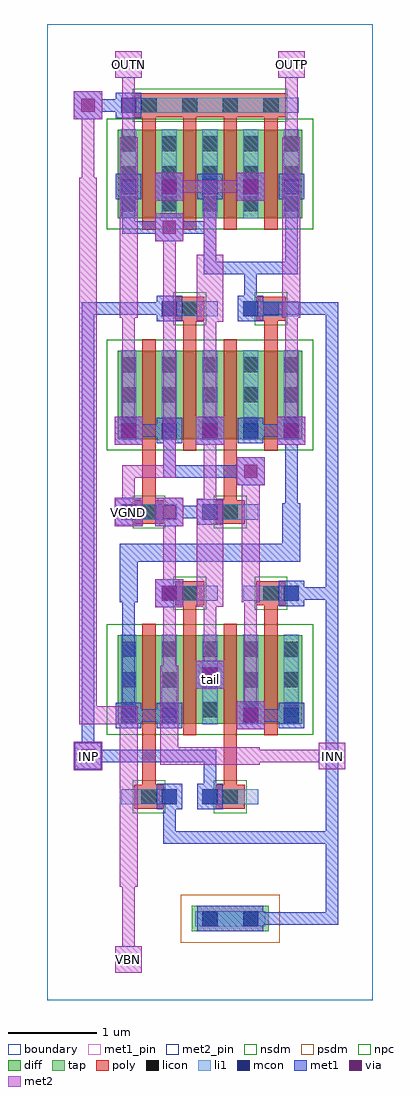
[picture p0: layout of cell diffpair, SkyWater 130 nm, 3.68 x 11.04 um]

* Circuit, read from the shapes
.subckt diffpair INN INP OUTN OUTP VBN VGND tail
XM1 OUTP VGND OUTP VGND sky130_fd_pr__nfet_01v8 w=1 l=0.15 m=2
XM2 OUTN VGND OUTN VGND sky130_fd_pr__nfet_01v8 w=1 l=0.15 m=2
XM3 tail VBN VGND VGND sky130_fd_pr__nfet_01v8 w=1 l=0.15 m=4
XM4 tail INN OUTP VGND sky130_fd_pr__nfet_01v8 w=1 l=0.15 m=2
XM5 tail INP OUTN VGND sky130_fd_pr__nfet_01v8 w=1 l=0.15 m=2
.ends

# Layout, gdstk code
import gdstk
lib = gdstk.Library(unit=1e-6, precision=1e-09)
def R(c, l, rs):  # rectangles x0, y0, x1, y1
    for r in rs: c.add(gdstk.rectangle(r[:2], r[2:], *l))
def A(c, l, x, y, w, h, nx, ny, dx, dy):  # array of equal rectangles
    R(c, l, [(x+i*dx, y+j*dy, x+i*dx+w, y+j*dy+h) for i in range(nx) for j in range(ny)])
diff = (65, 20)
tap = (65, 44)
poly = (66, 20)
licon = (66, 44)
li1 = (67, 20)
mcon = (67, 44)
met1_pin = (68, 16)
met1 = (68, 20)
via = (68, 44)
met2_pin = (69, 16)
met2 = (69, 20)
nsdm = (93, 44)
psdm = (94, 20)
npc = (95, 20)
boundary = (235, 4)

diffpair = lib.new_cell('diffpair')
R(diffpair, diff, [(0.795,3.125,2.885,4.125), (0.795,6.345,2.885,7.345), (0.795,8.845,2.885,9.845)])
R(diffpair, tap, [(1.635,0.775,2.505,1.065)])
A(diffpair, poly, 1.075, 8.715, 0.15, 1.405, 4, 1, 0.46, 0)
R(diffpair, poly, [(0.985,2.165,1.315,2.435), (1.905,2.165,2.235,2.435), (1.075,2.3,1.225,4.255), (1.995,2.3,2.145,4.255), (1.535,2.995,1.685,4.6), (2.455,2.995,2.605,4.6), (1.445,4.465,1.775,4.735), (2.365,4.465,2.695,4.735), (0.985,5.385,1.315,5.655), (1.905,5.385,2.235,5.655), (1.075,5.52,1.225,7.475), (1.995,5.52,2.145,7.475), (1.535,6.215,1.685,7.82), (2.455,6.215,2.605,7.82), (1.445,7.685,1.775,7.955), (2.365,7.685,2.695,7.955), (0.985,9.985,2.695,10.255)])
A(diffpair, licon, 0.835, 3.2, 0.17, 0.17, 5, 3, 0.46, 0.34)
A(diffpair, licon, 0.835, 6.42, 0.17, 0.17, 5, 3, 0.46, 0.34)
A(diffpair, licon, 0.835, 8.92, 0.17, 0.17, 5, 3, 0.46, 0.34)
A(diffpair, licon, 1.065, 10.035, 0.17, 0.17, 4, 1, 0.46, 0)
R(diffpair, licon, [(1.755,0.835,1.925,1.005), (2.215,0.835,2.385,1.005), (1.065,2.215,1.235,2.385), (1.985,2.215,2.155,2.385), (1.525,4.515,1.695,4.685), (2.445,4.515,2.615,4.685), (1.065,5.435,1.235,5.605), (1.985,5.435,2.155,5.605), (1.525,7.735,1.695,7.905), (2.445,7.735,2.615,7.905)])
A(diffpair, li1, 0.835, 3.12, 0.17, 1.01, 5, 2, 0.46, 3.22)
A(diffpair, li1, 0.835, 8.84, 0.17, 1.01, 5, 1, 0.46, 0)
R(diffpair, li1, [(1.675,0.835,2.465,1.005), (0.835,2.215,1.465,2.385), (1.755,2.215,2.385,2.385), (1.295,4.515,1.925,4.685), (2.215,4.515,2.845,4.685), (0.835,5.435,1.465,5.605), (1.755,5.435,2.385,5.605), (1.295,7.735,1.925,7.905), (2.215,7.735,2.845,7.905), (0.835,10.035,2.845,10.205)])
A(diffpair, mcon, 1.755, 0.835, 0.17, 0.17, 1, 3, 0, 1.38)
A(diffpair, mcon, 0.835, 6.355, 0.17, 0.17, 5, 2, 0.46, 2.76)
R(diffpair, mcon, [(2.215,0.835,2.385,1.005), (1.295,2.215,1.465,2.385), (0.835,3.135,1.005,3.305), (1.295,3.135,1.465,3.305), (2.215,3.135,2.385,3.305), (2.675,3.135,2.845,3.305), (1.295,4.515,1.465,4.685), (2.675,4.515,2.845,4.685), (0.835,5.435,1.005,5.605), (1.755,5.435,1.925,5.605), (1.295,7.735,1.465,7.905), (2.215,7.735,2.385,7.905), (0.835,10.035,1.005,10.205)])
R(diffpair, met1_pin, [(0.775,5.375,1.065,5.665)])
A(diffpair, met1, 0.76, 6.28, 0.32, 0.32, 3, 1, 0.92, 0)
A(diffpair, met1, 0.775, 6.295, 0.29, 0.29, 5, 2, 0.46, 2.76)
R(diffpair, met1, [(1.695,0.775,2.445,1.065), (2.23,0.85,3.29,0.99), (2.23,0.85,2.37,0.99), (3.15,0.85,3.29,4.67), (1.31,1.77,1.45,2.37), (1.31,1.77,3.29,1.91), (1.235,2.155,1.525,2.445), (1.695,2.155,1.985,2.445), (1.77,2.23,1.91,2.83), (0.3,2.6,0.62,2.92), (0.39,2.69,1.91,2.83), (0.39,2.69,0.53,7.89), (2.14,3.06,2.46,3.38), (0.775,3.075,1.065,3.365), (1.235,3.075,1.525,3.365), (2.155,3.075,2.445,3.365), (2.615,3.075,2.905,3.365), (0.85,3.15,1.45,3.29), (0.85,3.15,0.99,4.67), (2.23,3.15,2.83,3.29), (1.68,3.52,2,3.84), (1.695,3.535,1.985,3.825), (1.22,4.44,1.54,4.76), (1.235,4.455,1.525,4.745), (2.615,4.455,2.905,4.745), (0.82,4.5,1.02,5.16), (2.69,4.53,3.29,4.67), (3.15,4.53,3.29,7.89), (0.82,4.96,2.86,5.16), (2.66,4.96,2.86,5.62), (0.76,5.36,1.08,5.68), (1.22,5.36,1.54,5.68), (0.775,5.375,1.065,5.665), (1.695,5.375,1.985,5.665), (1.31,5.45,1.91,5.59), (2.69,5.45,2.83,6.51), (2.14,5.82,2.46,6.14), (1.31,5.91,2.37,6.05), (1.31,5.91,1.45,6.51), (0.85,6.37,1.45,6.51), (2.23,6.37,2.83,6.51), (1.235,7.675,1.525,7.965), (2.155,7.675,2.445,7.965), (0.39,7.75,1.45,7.89), (2.23,7.75,3.29,7.89), (2.23,7.75,2.37,8.35), (1.77,8.21,2.37,8.35), (1.77,8.21,1.91,8.81), (2.23,8.21,2.83,8.35), (2.69,8.21,2.83,9.27), (1.22,8.58,1.54,8.9), (0.85,8.67,1.45,8.81), (0.85,8.67,0.99,9.27), (1.31,8.67,1.91,8.81), (1.77,8.67,1.91,9.27), (1.22,9.04,1.54,9.36), (2.14,9.04,2.46,9.36), (0.3,9.96,0.62,10.28), (0.775,9.975,1.065,10.265), (0.39,10.05,0.99,10.19)])
A(diffpair, via, 0.845, 6.365, 0.15, 0.15, 3, 1, 0.92, 0)
R(diffpair, via, [(0.385,2.685,0.535,2.835), (2.225,3.145,2.375,3.295), (1.765,3.605,1.915,3.755), (1.305,4.525,1.455,4.675), (0.845,5.445,0.995,5.595), (1.305,5.445,1.455,5.595), (2.225,5.905,2.375,6.055), (1.305,8.665,1.455,8.815), (1.305,9.125,1.455,9.275), (2.225,9.125,2.375,9.275), (0.385,10.045,0.535,10.195)])
R(diffpair, met2_pin, [(0.77,0.31,1.07,0.61), (0.31,2.61,0.61,2.91), (3.07,2.61,3.37,2.91), (0.77,10.43,1.07,10.73), (2.61,10.43,2.91,10.73)])
A(diffpair, met2, 0.76, 6.28, 0.32, 0.32, 3, 1, 0.92, 0)
A(diffpair, met2, 0.85, 6.37, 0.14, 1.52, 3, 1, 0.92, 0)
R(diffpair, met2, [(0.77,0.31,1.07,0.61), (0.85,0.39,0.99,1.45), (0.85,0.39,0.99,0.53), (0.82,1.28,1.02,3.32), (0.3,2.6,0.62,2.92), (0.31,2.61,0.61,2.91), (3.07,2.61,3.37,2.91), (1.28,2.66,1.48,3.78), (1.28,2.66,2.4,2.86), (0.39,2.69,0.53,2.83), (2.23,2.69,3.29,2.83), (3.15,2.69,3.29,2.83), (2.14,3.06,2.46,3.38), (0.36,3.12,0.56,9.3), (0.36,3.12,1.02,3.32), (2.23,3.15,2.37,4.67), (1.68,3.52,2,3.84), (1.31,3.61,1.45,4.67), (1.77,3.61,1.91,4.67), (1.22,4.44,1.54,4.76), (1.69,4.45,1.99,5.67), (2.2,4.5,2.4,6.08), (1.31,4.53,1.45,5.59), (0.76,5.36,1.08,5.68), (1.22,5.36,1.54,5.68), (0.85,5.45,0.99,6.05), (1.77,5.45,1.91,6.51), (2.14,5.82,2.46,6.14), (0.85,5.91,1.45,6.05), (1.31,5.91,1.45,8.81), (1.69,7.67,1.99,8.43), (0.82,7.72,1.02,9.76), (2.66,7.72,2.86,9.76), (1.77,8.21,1.91,9.27), (1.22,8.58,1.54,8.9), (1.22,9.04,1.54,9.36), (2.14,9.04,2.46,9.36), (0.39,9.13,0.53,10.19), (1.31,9.13,1.91,9.27), (1.77,9.13,2.37,9.27), (0.85,9.59,0.99,10.65), (2.69,9.59,2.83,10.65), (0.3,9.96,0.62,10.28), (0.77,10.43,1.07,10.73), (2.61,10.43,2.91,10.73), (0.85,10.51,0.99,10.65), (2.69,10.51,2.83,10.65)])
R(diffpair, nsdm, [(0.67,3,3.01,4.25), (0.67,6.22,3.01,7.47), (0.67,8.72,3.01,9.97)])
R(diffpair, psdm, [(1.51,0.65,2.63,1.19)])
R(diffpair, npc, [(0.965,2.115,1.335,2.485), (1.885,2.115,2.255,2.485), (1.425,4.415,1.795,4.785), (2.345,4.415,2.715,4.785), (0.965,5.335,1.335,5.705), (1.885,5.335,2.255,5.705), (1.425,7.635,1.795,8.005), (2.345,7.635,2.715,8.005), (0.965,9.935,2.715,10.305)])
R(diffpair, boundary, [(0,0,3.68,11.04)])
diffpair.add(gdstk.Label('tail', (1.84,3.625), layer=67, texttype=5))
diffpair.add(gdstk.Label('VGND', (0.92,5.52), layer=68, texttype=5))
diffpair.add(gdstk.Label('INP', (0.46,2.76), layer=69, texttype=5))
diffpair.add(gdstk.Label('INN', (3.22,2.76), layer=69, texttype=5))
diffpair.add(gdstk.Label('VBN', (0.92,0.46), layer=69, texttype=5))
diffpair.add(gdstk.Label('OUTP', (2.76,10.58), layer=69, texttype=5))
diffpair.add(gdstk.Label('OUTN', (0.92,10.58), layer=69, texttype=5))
diffpair.add(gdstk.Label('VGND', (0.92,5.52), layer=68, texttype=16))
diffpair.add(gdstk.Label('INP', (0.46,2.76), layer=69, texttype=16))
diffpair.add(gdstk.Label('INN', (3.22,2.76), layer=69, texttype=16))
diffpair.add(gdstk.Label('VBN', (0.92,0.46), layer=69, texttype=16))
diffpair.add(gdstk.Label('OUTP', (2.76,10.58), layer=69, texttype=16))
diffpair.add(gdstk.Label('OUTN', (0.92,10.58), layer=69, texttype=16))

lib.write_gds('diffpair.gds')
